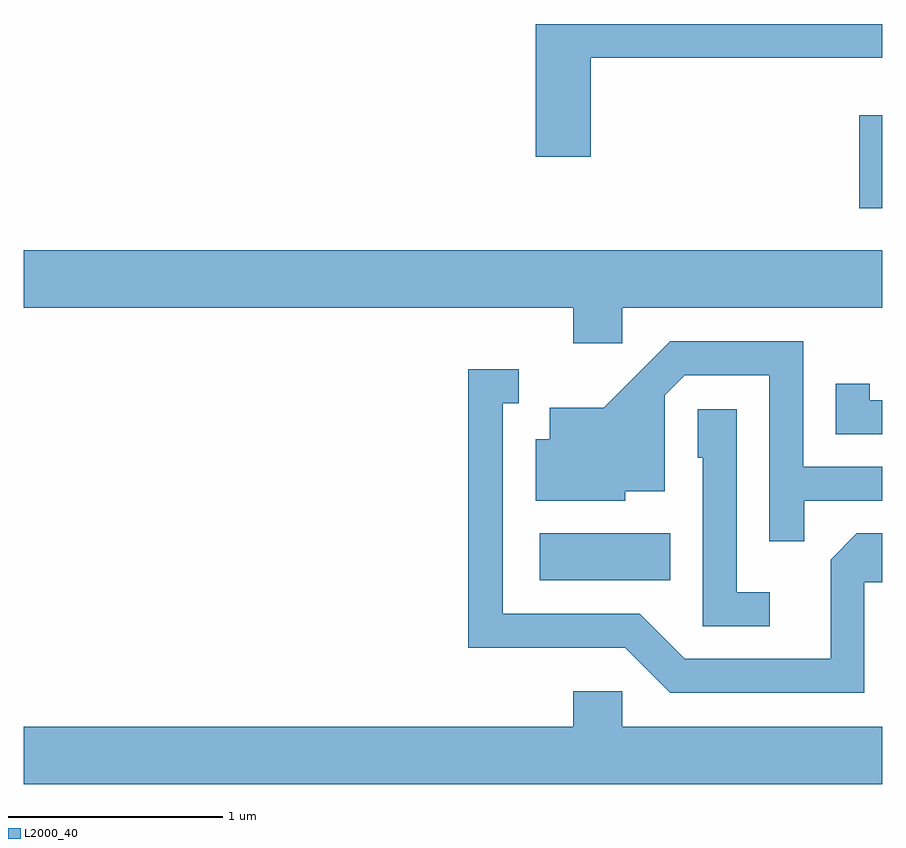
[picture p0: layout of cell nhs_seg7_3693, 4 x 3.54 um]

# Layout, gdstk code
import gdstk
lib = gdstk.Library(unit=1e-6, precision=1e-09)
def R(c, l, rs):  # rectangles x0, y0, x1, y1
    for r in rs: c.add(gdstk.rectangle(r[:2], r[2:], *l))
def P(c, l, *ps):  # polygons
    for p in ps: c.add(gdstk.Polygon(p, *l))
L2000_40 = (2000, 40)

nhs_seg7_3693 = lib.new_cell('nhs_seg7_3693')
R(nhs_seg7_3693, L2000_40, [(300.016,1775.206,300.624,1775.424), (301.506,1776.941,301.611,1777.374)])
P(nhs_seg7_3693, L2000_40, [(300.254,1777.641),(301.611,1777.641),(301.611,1777.799),(299.996,1777.799),(299.996,1777.181),(300.254,1777.181)],
  [(300.399,1776.476),(301.611,1776.476),(301.611,1776.744),(297.611,1776.744),(297.611,1776.476),(300.171,1776.476),(300.171,1776.311),(300.399,1776.311)],
  [(301.249,1775.576),(301.611,1775.576),(301.611,1775.734),(301.244,1775.734),(301.244,1776.319),(300.624,1776.319),(300.314,1776.009),(300.061,1776.009),(300.061,1775.864),(299.996,1775.864),(299.996,1775.576),(300.414,1775.576),(300.414,1775.621),(300.599,1775.621),(300.599,1776.069),(300.692,1776.161),(301.086,1776.161),(301.086,1775.388),(301.249,1775.388)],
  [(301.529,1775.196),(301.611,1775.196),(301.611,1775.424),(301.494,1775.424),(301.371,1775.302),(301.371,1774.839),(300.692,1774.839),(300.482,1775.049),(299.844,1775.049),(299.844,1776.031),(299.918,1776.031),(299.918,1776.189),(299.681,1776.189),(299.681,1774.891),(300.414,1774.891),(300.624,1774.681),(301.529,1774.681)],
  [(301.611,1776.044),(301.554,1776.044),(301.554,1776.123),(301.396,1776.123),(301.396,1775.886),(301.611,1775.886)],
  [(301.088,1775.149),(300.934,1775.149),(300.934,1776.004),(300.751,1776.004),(300.751,1775.776),(300.776,1775.776),(300.776,1774.991),(301.088,1774.991)],
  [(301.611,1774.524),(300.399,1774.524),(300.399,1774.689),(300.171,1774.689),(300.171,1774.524),(297.611,1774.524),(297.611,1774.256),(301.611,1774.256)])

lib.write_gds('nhs_seg7_3693.gds')
